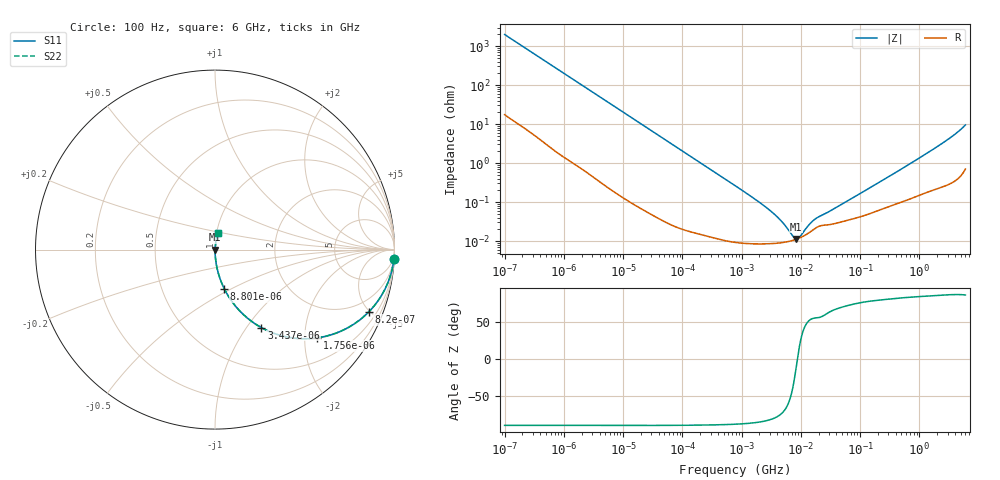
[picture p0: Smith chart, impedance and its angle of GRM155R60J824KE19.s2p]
!Murata Part Number: GRM155R60J824KE19
!These Parameters are Measured in Series Mode Connection
!Data Generated on Mar 30, 2021
!  o--ll--o
!Port1  Port2
!  o------o
!Operation Temp=25[degC], DC Bias Voltage=0[V]
!Freq. Start=100[Hz] Stop=6[GHz] 401[Steps]
# Hz S RI R 50
!Freq.(Hz) S11(Real) S11(Imag) S21(Real) S21(Imag) S12(Real) S12(Imag) S22(Real) S22(Imag)
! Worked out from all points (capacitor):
!   401 points, 100 Hz to 6 GHz, reference 50 ohm
!   read as one part in series: C = 799 nF near 109 Hz
!   lowest |Z| = 11.3 mohm at 8.312 MHz (marker M1)
!   series resonance near 8.766 MHz, so ESL is about 410 pH
!   S11 on the Smith chart (normalised r, x): 100 Hz: 1, -40; 820 Hz: 1.03, -4.90; 1.756 kHz: 1.02, -2.30; 3.437 kHz: 1.01, -1.18; 8.801 kHz: 1.00, -0.46; 6 GHz: 1.01, +0.19
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100  0.997 -0.0501  0.00296 0.0501  0.00296 0.0501  0.997 -0.0501
293  0.9779 -0.143  0.0221 0.143  0.0221 0.143  0.9779 -0.143
524  0.9345 -0.2436  0.0655 0.2436  0.0655 0.2436  0.9345 -0.2436
820  0.8556 -0.348  0.1444 0.348  0.1444 0.348  0.8556 -0.348
1174  0.7449 -0.4324  0.2551 0.4324  0.2551 0.4324  0.7449 -0.4324
1756  0.5684 -0.4918  0.4316 0.4918  0.4316 0.4918  0.5684 -0.4918
2008  0.5025 -0.4965  0.4975 0.4965  0.4975 0.4965  0.5025 -0.4965
3437  0.2588 -0.4346  0.7412 0.4346  0.7412 0.4346  0.2588 -0.4346
5378  0.1259 -0.3286  0.8741 0.3286  0.8741 0.3286  0.1259 -0.3286
8801  0.0518 -0.2184  0.9482 0.2184  0.9482 0.2184  0.0518 -0.2184
17227  0.0145 -0.1163  0.9855 0.1163  0.9855 0.1163  0.0145 -0.1163
40335  0.00293 -0.0505  0.9971 0.0505  0.9971 0.0505  0.00293 -0.0505
774597  9.92e-05 -0.00265  0.9999 0.00265  0.9999 0.00265  9.92e-05 -0.00265
3394479  8.65e-05 -0.000516  0.9999 0.000516  0.9999 0.000516  8.65e-05 -0.000516
5079039  9.2e-05 -0.000268  0.9999 0.000268  0.9999 0.000268  9.2e-05 -0.000268
7266822  0.000103 -8.75e-05  0.9999 8.75e-05  0.9999 8.75e-05  0.000103 -8.75e-05
8311524  0.00011 -2.45e-05  0.9999 2.45e-05  0.9999 2.45e-05  0.00011 -2.45e-05
9506416  0.000119 3.73e-05  0.9999 -3.73e-05  0.9999 -3.73e-05  0.000119 3.73e-05
1.555665e7  0.000186 0.000256  0.9998 -0.000256  0.9998 -0.000256  0.000186 0.000256
3.124326e8  0.000791 0.00451  0.9992 -0.00451  0.9992 -0.00451  0.000791 0.00451
2.240541e9  0.00317 0.0292  0.9968 -0.0292  0.9968 -0.0292  0.00317 0.0292
6e9  0.0157 0.0926  0.9843 -0.0926  0.9843 -0.0926  0.0157 0.0926
